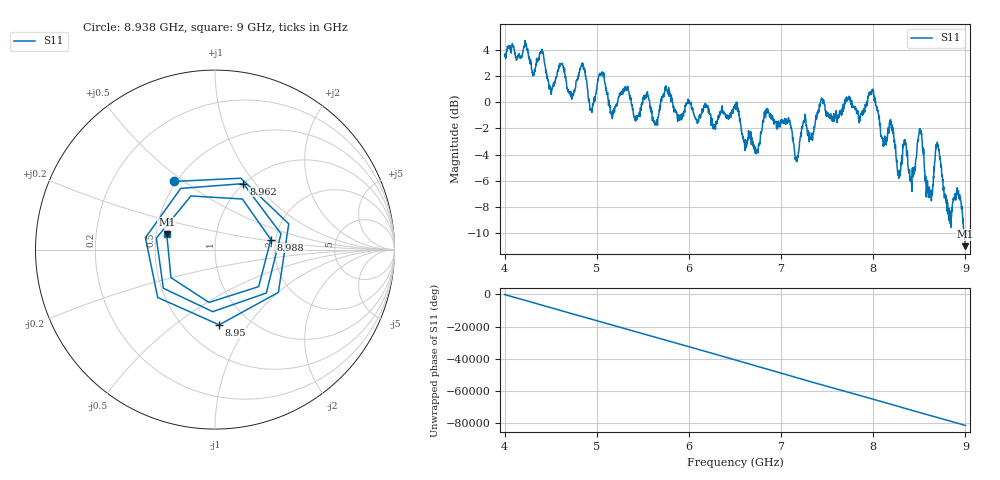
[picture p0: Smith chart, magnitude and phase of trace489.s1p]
! Created with skrf 1.8.0 (http://scikit-rf.org).
# Hz S RI R 50.0
!freq ReS11 ImS11
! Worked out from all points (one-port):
!   1601 points, 4 GHz to 9 GHz, reference 50 ohm
!   lowest |S11| = -11.0 dB at 9 GHz (marker M1), VSWR 1.78, Z = 28.5 + j5.23 ohm
!   |S11| at or under -10 dB: 8.987818 GHz to 8.9882 GHz (382.3 kHz wide, 0.00425 % of centre); 8.991368 GHz to end of sweep
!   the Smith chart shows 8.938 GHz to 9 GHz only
!   S11 on the Smith chart (normalised r, x): 8.938 GHz: 0.48, +0.46; 8.95 GHz: 0.73, -0.74; 8.962 GHz: 0.99, +0.87; 8.988 GHz: 1.88, +0.23; 9 GHz: 0.57, +0.10
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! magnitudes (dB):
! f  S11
! 4 GHz  3.6
! 4.503 GHz  0.7
! 4.625 GHz  3.0
! 4.725 GHz  0.4
! 4.85 GHz  3.0
! 4.938 GHz  -0.5
! 5.044 GHz  2.1
! 5.159 GHz  -0.9
! 5.25 GHz  0.5
! 5.875 GHz  -1.4
! 6.5 GHz  -0.2
! 6.725 GHz  -3.8
! 6.844 GHz  -0.5
! 7.125 GHz  -2.9
! 7.75 GHz  0.3
! 7.991 GHz  0.9
! 8.275 GHz  -5.3
! 8.375 GHz  -4.8
! 8.422 GHz  -5.6
! 8.506 GHz  -2.3
! 8.6 GHz  -7.3
! 8.7 GHz  -3.4
! 8.825 GHz  -9.0
! 8.938 GHz  -7.1
! 8.95 GHz  -7.5
! 8.962 GHz  -8.0
! 8.988 GHz  -10.0
! 9 GHz  -11.0
